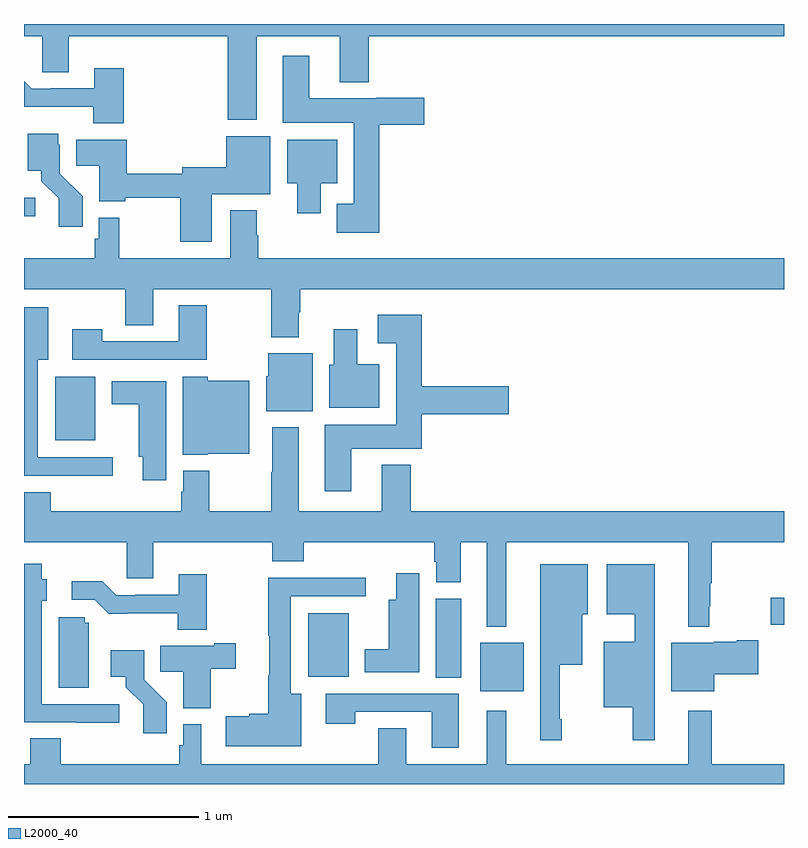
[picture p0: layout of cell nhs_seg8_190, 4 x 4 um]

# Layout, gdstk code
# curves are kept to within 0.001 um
import gdstk
lib = gdstk.Library(unit=1e-6, precision=1e-09)
def R(c, l, rs):  # rectangles x0, y0, x1, y1
    for r in rs: c.add(gdstk.rectangle(r[:2], r[2:], *l))
def P(c, l, *ps):  # polygons
    for p in ps: c.add(gdstk.Polygon(p, *l))
L2000_40 = (2000, 40)

nhs_seg8_190 = lib.new_cell('nhs_seg8_190')
R(nhs_seg8_190, L2000_40, [(125.402,1110.389,125.629,1110.643), (125.168,1110.46,125.302,1110.876), (124.496,1110.464,124.708,1110.799), (126.93,1110.737,127,1110.879), (123.164,1111.709,123.376,1112.044), (123,1112.887,123.058,1112.985)])
P(nhs_seg8_190, L2000_40, [(123,1113.836),(123.096,1113.836),(123.096,1113.646),(123.235,1113.646),(123.235,1113.836),(124.073,1113.836),(124.073,1113.395),(124.225,1113.395),(124.225,1113.836),(124.661,1113.836),(124.661,1113.593),(124.814,1113.593),(124.814,1113.836),(127,1113.836),(127,1113.9),(123,1113.9)],
  [(124.871,1113.371),(125.107,1113.371),(125.107,1113.513),(124.854,1113.513),(124.854,1113.508),(124.501,1113.508),(124.501,1113.733),(124.361,1113.733),(124.361,1113.38),(124.736,1113.38),(124.736,1112.953),(124.646,1112.953),(124.646,1112.801),(124.871,1112.801)],
  [(123.524,1113.667),(123.371,1113.667),(123.371,1113.561),(123.142,1113.561),(123.142,1113.558),(123.042,1113.558),(123,1113.6),(123,1113.464),(123.364,1113.464),(123.364,1113.377),(123.524,1113.377)],
  [(123.308,1112.994),(123.189,1113.113),(123.189,1113.264),(123.181,1113.264),(123.181,1113.322),(123.02,1113.322),(123.02,1113.128),(123.092,1113.128),(123.092,1113.073),(123.183,1112.983),(123.183,1112.832),(123.308,1112.832)],
  [(123.988,1113.005),(124.297,1113.005),(124.297,1113.31),(124.064,1113.31),(124.064,1113.146),(123.834,1113.146),(123.834,1113.113),(123.54,1113.113),(123.54,1113.292),(123.274,1113.292),(123.274,1113.154),(123.395,1113.154),(123.395,1112.966),(123.532,1112.966),(123.532,1112.985),(123.823,1112.985),(123.823,1112.754),(123.988,1112.754)],
  [(124.561,1113.062),(124.648,1113.062),(124.648,1113.292),(124.385,1113.292),(124.385,1113.062),(124.439,1113.062),(124.439,1112.904),(124.561,1112.904)],
  [(124.447,1112.384),(124.455,1112.384),(124.455,1112.504),(127,1112.504),(127,1112.668),(124.233,1112.668),(124.233,1112.789),(124.225,1112.789),(124.225,1112.92),(124.085,1112.92),(124.085,1112.668),(123.502,1112.668),(123.502,1112.881),(123.393,1112.881),(123.393,1112.769),(123.373,1112.769),(123.373,1112.668),(123,1112.668),(123,1112.504),(123.532,1112.504),(123.532,1112.314),(123.679,1112.314),(123.679,1112.504),(124.3,1112.504),(124.3,1112.252),(124.447,1112.252)],
  [(123.963,1112.419),(123.815,1112.419),(123.815,1112.229),(123.411,1112.229),(123.411,1112.293),(123.255,1112.293),(123.255,1112.133),(123.963,1112.133)],
  [(123.466,1111.62),(123.073,1111.62),(123.073,1112.132),(123.127,1112.132),(123.127,1112.41),(123,1112.41),(123,1111.523),(123.466,1111.523)],
  [(124.723,1111.664),(125.093,1111.664),(125.093,1111.847),(125.551,1111.847),(125.551,1111.994),(125.093,1111.994),(125.093,1112.371),(124.863,1112.371),(124.863,1112.219),(124.958,1112.219),(124.958,1111.792),(124.583,1111.792),(124.583,1111.44),(124.723,1111.44)],
  [(124.87,1112.11),(124.753,1112.11),(124.753,1112.293),(124.631,1112.293),(124.631,1112.106),(124.607,1112.106),(124.607,1111.88),(124.87,1111.88)],
  [(124.519,1112.167),(124.286,1112.167),(124.286,1112.046),(124.274,1112.046),(124.274,1111.862),(124.519,1111.862)],
  [(123.966,1111.637),(124.186,1111.637),(124.186,1112.023),(123.966,1112.023),(123.966,1112.044),(123.836,1112.044),(123.836,1111.634),(123.966,1111.634)],
  [(123.748,1112.02),(123.461,1112.02),(123.461,1111.898),(123.605,1111.898),(123.605,1111.623),(123.626,1111.623),(123.626,1111.5),(123.748,1111.5)],
  [(125.539,1111.172),(126.497,1111.172),(126.497,1110.728),(126.607,1110.728),(126.607,1110.835),(126.611,1110.835),(126.611,1110.956),(126.619,1110.956),(126.619,1111.172),(127,1111.172),(127,1111.336),(125.036,1111.336),(125.036,1111.579),(124.883,1111.579),(124.883,1111.336),(124.447,1111.336),(124.447,1111.777),(124.307,1111.777),(124.307,1111.541),(124.3,1111.541),(124.3,1111.336),(123.975,1111.336),(123.975,1111.549),(123.839,1111.549),(123.839,1111.437),(123.827,1111.437),(123.827,1111.336),(123.14,1111.336),(123.14,1111.435),(123,1111.435),(123,1111.172),(123.54,1111.172),(123.54,1110.982),(123.679,1110.982),(123.679,1111.172),(124.307,1111.172),(124.307,1111.073),(124.472,1111.073),(124.472,1111.172),(125.159,1111.172),(125.159,1111.071),(125.171,1111.071),(125.171,1110.961),(125.299,1110.961),(125.299,1111.172),(125.435,1111.172),(125.435,1110.728),(125.539,1110.728)],
  [(123.502,1110.321),(123.093,1110.321),(123.093,1110.864),(123.121,1110.864),(123.121,1110.978),(123.094,1110.978),(123.094,1111.06),(123,1111.06),(123,1110.225),(123.277,1110.225),(123.277,1110.223),(123.502,1110.223)],
  [(125.831,1110.241),(125.821,1110.241),(125.821,1110.527),(125.938,1110.527),(125.938,1110.794),(125.968,1110.794),(125.968,1111.057),(125.717,1111.057),(125.717,1110.129),(125.831,1110.129)],
  [(126.319,1111.057),(126.068,1111.057),(126.068,1110.794),(126.215,1110.794),(126.215,1110.649),(126.05,1110.649),(126.05,1110.305),(126.205,1110.305),(126.205,1110.129),(126.319,1110.129)],
  [(125.08,1111.009),(124.958,1111.009),(124.958,1110.871),(124.919,1110.871),(124.919,1110.61),(124.793,1110.61),(124.793,1110.488),(125.08,1110.488)],
  [(123.963,1111.003),(123.815,1111.003),(123.815,1110.897),(123.586,1110.897),(123.586,1110.894),(123.486,1110.894),(123.413,1110.967),(123.252,1110.967),(123.252,1110.87),(123.372,1110.87),(123.445,1110.797),(123.808,1110.798),(123.808,1110.713),(123.963,1110.713)],
  [(124.459,1110.376),(124.405,1110.376),(124.405,1110.888),(124.798,1110.888),(124.798,1110.986),(124.285,1110.986),(124.285,1110.681),(124.292,1110.681),(124.292,1110.472),(124.285,1110.472),(124.285,1110.269),(124.185,1110.269),(124.185,1110.256),(124.062,1110.256),(124.062,1110.098),(124.459,1110.098)],
  [(123.34,1110.75),(123.321,1110.75),(123.321,1110.777),(123.182,1110.777),(123.182,1110.406),(123.34,1110.406)],
  [(126.634,1110.478),(126.865,1110.478),(126.865,1110.656),(126.752,1110.656),(126.752,1110.65),(126.63,1110.65),(126.63,1110.643),(126.407,1110.643),(126.407,1110.389),(126.634,1110.389)],
  [(123.984,1110.506),(124.114,1110.506),(124.114,1110.641),(124.001,1110.641),(124.001,1110.628),(123.718,1110.628),(123.718,1110.49),(123.839,1110.49),(123.839,1110.299),(123.984,1110.299)],
  [(123.752,1110.33),(123.633,1110.449),(123.633,1110.604),(123.456,1110.604),(123.456,1110.464),(123.536,1110.464),(123.536,1110.409),(123.627,1110.319),(123.627,1110.168),(123.752,1110.168)],
  [(125.287,1110.375),(124.587,1110.375),(124.587,1110.216),(124.743,1110.216),(124.743,1110.279),(125.147,1110.279),(125.147,1110.09),(125.287,1110.09)],
  [(127,1110.004),(126.619,1110.004),(126.619,1110.286),(126.497,1110.286),(126.497,1110.004),(125.539,1110.004),(125.539,1110.286),(125.435,1110.286),(125.435,1110.004),(125.011,1110.004),(125.011,1110.194),(124.864,1110.194),(124.864,1110.004),(123.933,1110.004),(123.933,1110.214),(123.837,1110.214),(123.837,1110.105),(123.817,1110.105),(123.817,1110.004),(123.194,1110.004),(123.194,1110.14),(123.034,1110.14),(123.034,1110.004),(123,1110.004),(123,1109.9),(127,1109.9)])

lib.write_gds('nhs_seg8_190.gds')
